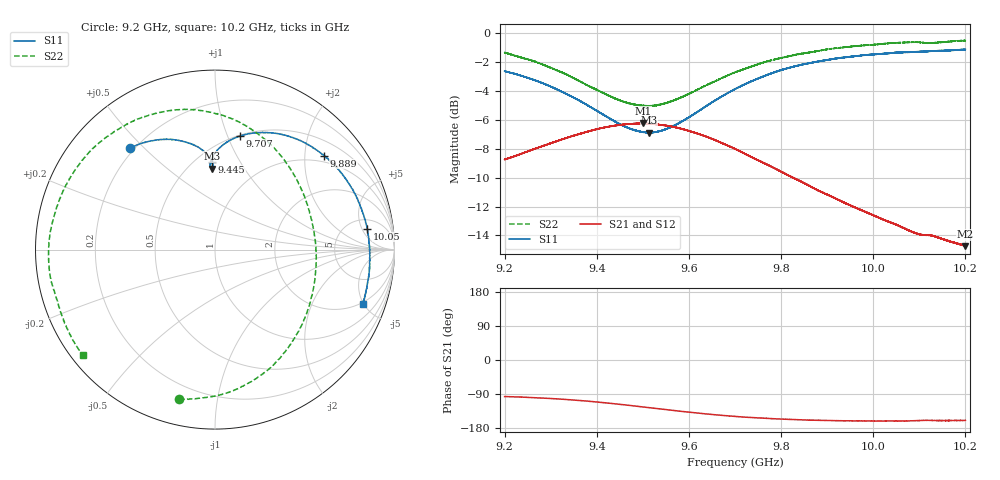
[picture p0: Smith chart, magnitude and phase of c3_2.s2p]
!Agilent Technologies,N5242A,MY51221714,A.09.90.19
!Agilent N5242A: A.09.90.19
!Date: Tuesday, March 26, 2024 15:51:12
!Correction: S11(Full 2 Port(1,2))
!S21(Full 2 Port(1,2))
!S12(Full 2 Port(1,2))
!S22(Full 2 Port(1,2))
!S2P File: Measurements: S11, S21, S12, S22:
# Hz S  dB  R 50
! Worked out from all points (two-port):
!   16001 points, 9.2 GHz to 10.2 GHz, reference 50 ohm
!   highest |S21| = -6.23 dB at 9.5 GHz (marker M1); lowest = -14.7 dB at 10.2 GHz (marker M2)
!   |S21| within 3 dB of the highest: start of sweep to 9.778 GHz; 9.778923 GHz to 9.77895 GHz (27.17 kHz wide, 0.000278 % of centre)
!   lowest |S11| = -6.9 dB at 9.513 GHz (marker M3), VSWR 2.65, Z = 32.1 + j36.5 ohm
!   |S11| at or under -10 dB: nowhere
!   |S22| runs from -5.1 to -0.5 dB; largest |S21 - S12| = 0.007
!   S11 on the Smith chart (normalised r, x): 9.2 GHz: 0.18, +0.45; 9.445 GHz: 0.60, +0.77; 9.707 GHz: 0.51, +1.11; 9.889 GHz: 0.83, +2.45; 10.05 GHz: 7.26, +6.37; 10.2 GHz: 1.85, -4.93
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9.2e9  -2.63 130.1  -8.75 -96.5  -8.74 -97.2  -1.35 -103.4
9.278812e9  -3.41 114.4  -7.85 -100.1  -7.84 -100.7  -2.12 -80.2
9.324188e9  -4.06 106.2  -7.35 -103.4  -7.34 -104.0  -2.72 -66.1
9.366688e9  -4.74 99.5  -6.93 -107.3  -6.92 -107.9  -3.39 -52.0
9.445e9  -6.22 92.0  -6.39 -116.4  -6.38 -117.0  -4.59 -21.6
9.500062e9  -6.84 91.8  -6.23 -123.9  -6.25 -124.4  -5.01 3.4
9.513188e9  -6.90 92.1  -6.28 -125.8  -6.27 -126.3  -5.04 9.5
9.533375e9  -6.81 92.9  -6.33 -128.5  -6.33 -129.1  -4.96 18.9
9.577312e9  -6.25 92.8  -6.58 -134.6  -6.57 -135.2  -4.54 38.2
9.624125e9  -5.34 89.6  -7.01 -140.7  -7.02 -141.1  -3.82 56.6
9.7e9  -3.88 78.7  -8.00 -148.8  -8.00 -149.4  -2.71 81.6
9.706688e9  -3.76 77.5  -8.11 -149.5  -8.10 -150.0  -2.65 83.6
9.783062e9  -2.73 62.6  -9.30 -154.9  -9.31 -155.6  -1.84 105.8
9.8265e9  -2.32 53.7  -10.02 -157.1  -10.01 -157.7  -1.52 117.9
9.866688e9  -2.05 45.3  -10.64 -158.8  -10.66 -159.2  -1.30 128.7
9.889375e9  -1.91 40.7  -11.02 -159.3  -11.02 -159.8  -1.18 134.9
9.965312e9  -1.59 25.2  -12.15 -160.6  -12.13 -161.2  -0.89 155.3
1.003338e10  -1.40 11.4  -13.05 -160.9  -13.06 -161.5  -0.71 173.4
1.005119e10  -1.35 7.9  -13.27 -161.0  -13.28 -161.5  -0.66 178.1
1.010481e10  -1.28 -2.3  -13.95 -159.5  -13.96 -160.0  -0.65 -167.9
1.019988e10  -1.15 -20.3  -14.74 -159.6  -14.72 -160.0  -0.51 -141.4
1.02e10  -1.13 -20.3  -14.72 -159.5  -14.73 -160.0  -0.52 -141.5
